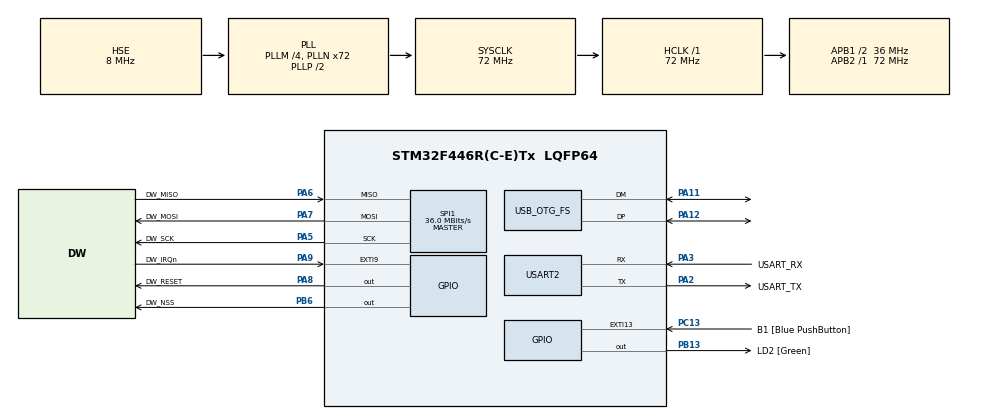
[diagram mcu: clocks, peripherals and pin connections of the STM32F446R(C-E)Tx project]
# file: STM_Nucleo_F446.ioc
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Mcu.Family=STM32F4
Mcu.Name=STM32F446R(C-E)Tx
Mcu.Package=LQFP64
NVIC.OTG_FS_IRQn=true\:0\:0\:false\:false\:true\:false\:true\:true
NVIC.PriorityGroup=NVIC_PRIORITYGROUP_0
PA11.Mode=Device_Only
PA11.Signal=USB_OTG_FS_DM
PA12.Mode=Device_Only
PA12.Signal=USB_OTG_FS_DP
PA13.GPIO_Label=TMS
PA13.Mode=Serial_Wire
PA13.Signal=SYS_JTMS-SWDIO
PA14.GPIO_Label=TCK
PA14.Mode=Serial_Wire
PA14.Signal=SYS_JTCK-SWCLK
PA2.GPIO_Label=USART_TX
PA2.Mode=Asynchronous
PA2.Signal=USART2_TX
PA3.GPIO_Label=USART_RX
PA3.Mode=Asynchronous
PA3.Signal=USART2_RX
PA5.GPIO_Label=DW_SCK
PA5.Mode=Full_Duplex_Master
PA5.Signal=SPI1_SCK
PA6.GPIO_Label=DW_MISO
PA6.Mode=Full_Duplex_Master
PA6.Signal=SPI1_MISO
PA7.GPIO_Label=DW_MOSI
PA7.Mode=Full_Duplex_Master
PA7.Signal=SPI1_MOSI
PA8.GPIO_Label=DW_RESET
PA8.GPIO_ModeDefaultOutputPP=GPIO_MODE_OUTPUT_OD
PA8.GPIO_PuPd=GPIO_NOPULL
PA8.GPIO_Speed=GPIO_SPEED_FREQ_MEDIUM
PA8.Signal=GPIO_Output
PA9.GPIO_Label=DW_IRQn
PA9.GPIO_ModeDefaultEXTI=GPIO_MODE_IT_RISING
PA9.Signal=GPXTI9
PB13.GPIO_Label=LD2 [Green]
PB13.Signal=GPIO_Output
PB3.GPIO_Label=SWO
PB3.Signal=SYS_JTDO-SWO
PB6.GPIO_Label=DW_NSS
PB6.GPIO_PuPd=GPIO_PULLUP
PB6.GPIO_Speed=GPIO_SPEED_FREQ_MEDIUM
PB6.PinState=GPIO_PIN_SET
PB6.Signal=GPIO_Output
PC13.GPIO_Label=B1 [Blue PushButton]
PC13.GPIO_ModeDefaultEXTI=GPIO_MODE_IT_FALLING
PC13.Signal=GPXTI13
PC14-OSC32_IN.Mode=LSE-External-Oscillator
PC14-OSC32_IN.Signal=RCC_OSC32_IN
PC15-OSC32_OUT.Mode=LSE-External-Oscillator
PC15-OSC32_OUT.Signal=RCC_OSC32_OUT
PH0-OSC_IN.Mode=HSE-External-Oscillator
PH0-OSC_IN.Signal=RCC_OSC_IN
PH1-OSC_OUT.Mode=HSE-External-Oscillator
PH1-OSC_OUT.Signal=RCC_OSC_OUT
ProjectManager.HeapSize=0x200
ProjectManager.StackSize=0x400
ProjectManager.TargetToolchain=STM32CubeIDE
RCC.48MHZClocksFreq_Value=84000000
RCC.AHBFreq_Value=72000000
RCC.APB1CLKDivider=RCC_HCLK_DIV2
RCC.APB1Freq_Value=36000000
RCC.APB1TimFreq_Value=72000000
RCC.APB2Freq_Value=72000000
RCC.APB2TimFreq_Value=72000000
RCC.CortexFreq_Value=72000000
RCC.FLatency-AdvancedSettings=FLASH_LATENCY_2
RCC.HCLKFreq_Value=72000000
RCC.HSE_VALUE=8000000
RCC.HSI_VALUE=16000000
RCC.PLLM=4
RCC.PLLN=72
RCC.PLLQ=3
RCC.PLLSourceVirtual=RCC_PLLSOURCE_HSE
RCC.SYSCLKFreq_VALUE=72000000
RCC.SYSCLKSource=RCC_SYSCLKSOURCE_PLLCLK
RCC.USBFreq_Value=48000000
RCC.VCOOutputFreq_Value=144000000
SPI1.BaudRatePrescaler=SPI_BAUDRATEPRESCALER_2
SPI1.CalculateBaudRate=36.0 MBits/s
SPI1.Direction=SPI_DIRECTION_2LINES
SPI1.Mode=SPI_MODE_MASTER
SPI1.VirtualType=VM_MASTER
USART2.VirtualMode=VM_ASYNC
USB_DEVICE.CLASS_NAME_FS=CDC
USB_DEVICE.VirtualMode-CDC_FS=Cdc
USB_DEVICE.VirtualModeFS=Cdc_FS
USB_OTG_FS.VirtualMode=Device_Only
VP_USB_DEVICE_VS_USB_DEVICE_CDC_FS.Mode=CDC_FS
board=NUCLEO-F446RE

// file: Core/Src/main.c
/* USER CODE BEGIN Header */
/**
  ******************************************************************************
  * @file           : main.c
  * @brief          : Main program body
  ******************************************************************************
  * @attention
  *
  * Copyright (c) 2024 STMicroelectronics.
  * All rights reserved.
  *
  * This software is licensed under terms that can be found in the LICENSE file
  * in the root directory of this software component.
  * If no LICENSE file comes with this software, it is provided AS-IS.
  *
  ******************************************************************************
  */
/* USER CODE END Header */
#include "main.h"
#include "usb_device.h"

/* USER CODE BEGIN Includes */
#include <port.h>
/* USER CODE END Includes */

SPI_HandleTypeDef hspi1;

UART_HandleTypeDef huart2;

/* USER CODE BEGIN PV */
SPI_HandleTypeDef   hspi4;
SPI_HandleTypeDef   *hcurrent_active_spi=&hspi1;//Is the current active SPI pointer - 1 or 2
uint16_t            pin_io_active_spi=DW_NSS_Pin;//CS IO for SPI. Default SPI1
GPIO_PinState       SPI_CS_state=GPIO_PIN_RESET;//Determine the CS for the IO
host_using_spi_e    host_spi = SPI_1;

/* USER CODE END PV */

void SystemClock_Config(void);
static void MX_GPIO_Init(void);
static void MX_SPI1_Init(void);
static void MX_USART2_UART_Init(void);

/* USER CODE BEGIN 0 */
void test_run_info(unsigned char *data)
{
    uint16_t data_length;

    data_length = strlen((const char *)data);

    HAL_UART_Transmit(&huart2, (uint8_t *)data, data_length, HAL_MAX_DELAY);
    uint8_t newline[] = "\n\r";
    HAL_UART_Transmit(&huart2, newline, sizeof(newline) - 1, HAL_MAX_DELAY);
}

//#define TAG_APP
#define ANCHOR_APP

extern int simple_rx(void);
extern int simple_tx(void);
extern int ss_twr_initiator(void);
extern int ss_twr_responder(void);
extern int ds_twr_initiator(void);
extern int ds_twr_responder(void);

#if defined(TAG_APP)
	extern void tag_app(uint8_t tagID);
#elif defined(ANCHOR_APP)
	extern void anchor_app(uint8_t anchorID);
#else
	#error "Define the Application, Tag or Anchor"
#endif
/* USER CODE END 0 */

int main(void)
{

  /* MCU Configuration--------------------------------------------------------*/

  /* Reset of all peripherals, Initializes the Flash interface and the Systick. */
  HAL_Init();

  /* Configure the system clock */
  SystemClock_Config();

  /* Initialize all configured peripherals */
  MX_GPIO_Init();
  MX_SPI1_Init();
  MX_USART2_UART_Init();
  MX_USB_DEVICE_Init();
  /* USER CODE BEGIN 2 */

#if defined(TAG_APP)
  tag_app(1);
#elif defined(ANCHOR_APP)
  anchor_app(3);
#else
	#error "Define the Application, Tag or Anchor"
#endif
  //simple_rx();
  //simple_tx();
  //ss_twr_initiator();
  //ss_twr_responder();

  /* USER CODE END 2 */

  /* Infinite loop */
  while (1)
  {

  }
}

void SystemClock_Config(void)
{
  RCC_OscInitTypeDef RCC_OscInitStruct = {0};
  RCC_ClkInitTypeDef RCC_ClkInitStruct = {0};

  /** Configure the main internal regulator output voltage
  */
  __HAL_RCC_PWR_CLK_ENABLE();
  __HAL_PWR_VOLTAGESCALING_CONFIG(PWR_REGULATOR_VOLTAGE_SCALE3);

  /** Initializes the RCC Oscillators according to the specified parameters
  * in the RCC_OscInitTypeDef structure.
  */
  RCC_OscInitStruct.OscillatorType = RCC_OSCILLATORTYPE_HSE;
  RCC_OscInitStruct.HSEState = RCC_HSE_ON;
  RCC_OscInitStruct.PLL.PLLState = RCC_PLL_ON;
  RCC_OscInitStruct.PLL.PLLSource = RCC_PLLSOURCE_HSE;
  RCC_OscInitStruct.PLL.PLLM = 4;
  RCC_OscInitStruct.PLL.PLLN = 72;
  RCC_OscInitStruct.PLL.PLLP = RCC_PLLP_DIV2;
  RCC_OscInitStruct.PLL.PLLQ = 3;
  RCC_OscInitStruct.PLL.PLLR = 2;
  if (HAL_RCC_OscConfig(&RCC_OscInitStruct) != HAL_OK)
  {
    Error_Handler();
  }

  /** Initializes the CPU, AHB and APB buses clocks
  */
  RCC_ClkInitStruct.ClockType = RCC_CLOCKTYPE_HCLK|RCC_CLOCKTYPE_SYSCLK
                              |RCC_CLOCKTYPE_PCLK1|RCC_CLOCKTYPE_PCLK2;
  RCC_ClkInitStruct.SYSCLKSource = RCC_SYSCLKSOURCE_PLLCLK;
  RCC_ClkInitStruct.AHBCLKDivider = RCC_SYSCLK_DIV1;
  RCC_ClkInitStruct.APB1CLKDivider = RCC_HCLK_DIV2;
  RCC_ClkInitStruct.APB2CLKDivider = RCC_HCLK_DIV1;

  if (HAL_RCC_ClockConfig(&RCC_ClkInitStruct, FLASH_LATENCY_2) != HAL_OK)
  {
    Error_Handler();
  }
}

static void MX_SPI1_Init(void)
{

  /* SPI1 parameter configuration*/
  hspi1.Instance = SPI1;
  hspi1.Init.Mode = SPI_MODE_MASTER;
  hspi1.Init.Direction = SPI_DIRECTION_2LINES;
  hspi1.Init.DataSize = SPI_DATASIZE_8BIT;
  hspi1.Init.CLKPolarity = SPI_POLARITY_LOW;
  hspi1.Init.CLKPhase = SPI_PHASE_1EDGE;
  hspi1.Init.NSS = SPI_NSS_SOFT;
  hspi1.Init.BaudRatePrescaler = SPI_BAUDRATEPRESCALER_2;
  hspi1.Init.FirstBit = SPI_FIRSTBIT_MSB;
  hspi1.Init.TIMode = SPI_TIMODE_DISABLE;
  hspi1.Init.CRCCalculation = SPI_CRCCALCULATION_DISABLE;
  hspi1.Init.CRCPolynomial = 10;
  if (HAL_SPI_Init(&hspi1) != HAL_OK)
  {
    Error_Handler();
  }

}

static void MX_USART2_UART_Init(void)
{

  huart2.Instance = USART2;
  huart2.Init.BaudRate = 115200;
  huart2.Init.WordLength = UART_WORDLENGTH_8B;
  huart2.Init.StopBits = UART_STOPBITS_1;
  huart2.Init.Parity = UART_PARITY_NONE;
  huart2.Init.Mode = UART_MODE_TX_RX;
  huart2.Init.HwFlowCtl = UART_HWCONTROL_NONE;
  huart2.Init.OverSampling = UART_OVERSAMPLING_16;
  if (HAL_UART_Init(&huart2) != HAL_OK)
  {
    Error_Handler();
  }

}

static void MX_GPIO_Init(void)
{
  GPIO_InitTypeDef GPIO_InitStruct = {0};

  /* GPIO Ports Clock Enable */
  __HAL_RCC_GPIOC_CLK_ENABLE();
  __HAL_RCC_GPIOH_CLK_ENABLE();
  __HAL_RCC_GPIOA_CLK_ENABLE();
  __HAL_RCC_GPIOB_CLK_ENABLE();

  /*Configure GPIO pin Output Level */
  HAL_GPIO_WritePin(LD2_GPIO_Port, LD2_Pin, GPIO_PIN_RESET);

  /*Configure GPIO pin Output Level */
  HAL_GPIO_WritePin(DW_RESET_GPIO_Port, DW_RESET_Pin, GPIO_PIN_RESET);

  /*Configure GPIO pin Output Level */
  HAL_GPIO_WritePin(DW_NSS_GPIO_Port, DW_NSS_Pin, GPIO_PIN_SET);

  /*Configure GPIO pin : B1_Pin */
  GPIO_InitStruct.Pin = B1_Pin;
  GPIO_InitStruct.Mode = GPIO_MODE_IT_FALLING;
  GPIO_InitStruct.Pull = GPIO_NOPULL;
  HAL_GPIO_Init(B1_GPIO_Port, &GPIO_InitStruct);

  /*Configure GPIO pin : LD2_Pin */
  GPIO_InitStruct.Pin = LD2_Pin;
  GPIO_InitStruct.Mode = GPIO_MODE_OUTPUT_PP;
  GPIO_InitStruct.Pull = GPIO_NOPULL;
  GPIO_InitStruct.Speed = GPIO_SPEED_FREQ_LOW;
  HAL_GPIO_Init(LD2_GPIO_Port, &GPIO_InitStruct);

  /*Configure GPIO pin : DW_RESET_Pin */
  GPIO_InitStruct.Pin = DW_RESET_Pin;
  GPIO_InitStruct.Mode = GPIO_MODE_OUTPUT_OD;
  GPIO_InitStruct.Pull = GPIO_NOPULL;
  GPIO_InitStruct.Speed = GPIO_SPEED_FREQ_MEDIUM;
  HAL_GPIO_Init(DW_RESET_GPIO_Port, &GPIO_InitStruct);

  /*Configure GPIO pin : DW_IRQn_Pin */
  GPIO_InitStruct.Pin = DW_IRQn_Pin;
  GPIO_InitStruct.Mode = GPIO_MODE_IT_RISING;
  GPIO_InitStruct.Pull = GPIO_NOPULL;
  HAL_GPIO_Init(DW_IRQn_GPIO_Port, &GPIO_InitStruct);

  /*Configure GPIO pin : DW_NSS_Pin */
  GPIO_InitStruct.Pin = DW_NSS_Pin;
  GPIO_InitStruct.Mode = GPIO_MODE_OUTPUT_PP;
  GPIO_InitStruct.Pull = GPIO_PULLUP;
  GPIO_InitStruct.Speed = GPIO_SPEED_FREQ_MEDIUM;
  HAL_GPIO_Init(DW_NSS_GPIO_Port, &GPIO_InitStruct);

}

void Error_Handler(void)
{
  __disable_irq();
  while (1)
  {
  }
}
